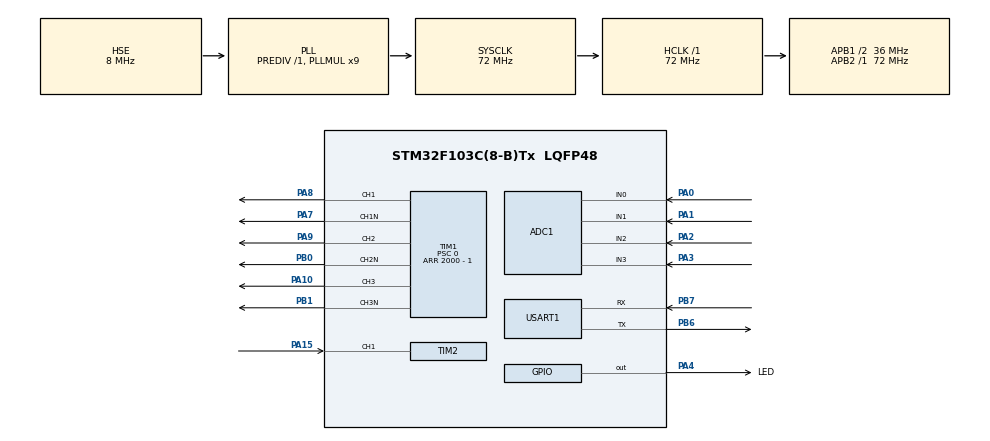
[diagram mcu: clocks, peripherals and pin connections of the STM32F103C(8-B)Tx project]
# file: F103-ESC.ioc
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ADC1.Channel-1\#ChannelRegularConversion=ADC_CHANNEL_0
ADC1.Channel-2\#ChannelRegularConversion=ADC_CHANNEL_1
ADC1.Channel-3\#ChannelRegularConversion=ADC_CHANNEL_2
ADC1.Channel-4\#ChannelRegularConversion=ADC_CHANNEL_3
ADC1.Channel-5\#ChannelRegularConversion=ADC_CHANNEL_TEMPSENSOR
ADC1.ContinuousConvMode=ENABLE
ADC1.NbrOfConversion=5
ADC1.NbrOfConversionFlag=1
ADC1.Rank-1\#ChannelRegularConversion=1
ADC1.Rank-2\#ChannelRegularConversion=2
ADC1.Rank-3\#ChannelRegularConversion=3
ADC1.Rank-4\#ChannelRegularConversion=4
ADC1.Rank-5\#ChannelRegularConversion=5
ADC1.SamplingTime-1\#ChannelRegularConversion=ADC_SAMPLETIME_7CYCLES_5
ADC1.SamplingTime-2\#ChannelRegularConversion=ADC_SAMPLETIME_7CYCLES_5
ADC1.SamplingTime-3\#ChannelRegularConversion=ADC_SAMPLETIME_7CYCLES_5
ADC1.SamplingTime-4\#ChannelRegularConversion=ADC_SAMPLETIME_7CYCLES_5
ADC1.SamplingTime-5\#ChannelRegularConversion=ADC_SAMPLETIME_7CYCLES_5
ADC1.master=1
Dma.ADC1.0.Direction=DMA_PERIPH_TO_MEMORY
Dma.ADC1.0.Instance=DMA1_Channel1
Dma.ADC1.0.MemDataAlignment=DMA_MDATAALIGN_HALFWORD
Dma.ADC1.0.MemInc=DMA_MINC_ENABLE
Dma.ADC1.0.Mode=DMA_CIRCULAR
Dma.ADC1.0.PeriphDataAlignment=DMA_PDATAALIGN_HALFWORD
Dma.ADC1.0.PeriphInc=DMA_PINC_DISABLE
Dma.ADC1.0.Priority=DMA_PRIORITY_LOW
Dma.Request0=ADC1
Mcu.Family=STM32F1
Mcu.Name=STM32F103C(8-B)Tx
Mcu.Package=LQFP48
NVIC.DMA1_Channel1_IRQn=true\:0\:0\:false\:false\:true\:false\:true
NVIC.PriorityGroup=NVIC_PRIORITYGROUP_4
NVIC.TIM2_IRQn=true\:0\:0\:false\:false\:true\:true\:true
PA0-WKUP.Signal=ADCx_IN0
PA1.Signal=ADCx_IN1
PA10.Signal=S_TIM1_CH3
PA13.Mode=Serial_Wire
PA13.Signal=SYS_JTMS-SWDIO
PA14.Mode=Serial_Wire
PA14.Signal=SYS_JTCK-SWCLK
PA15.Signal=S_TIM2_CH1_ETR
PA2.Signal=ADCx_IN2
PA3.Signal=ADCx_IN3
PA4.GPIO_Label=LED
PA4.Signal=GPIO_Output
PA7.Mode=PWM Generation1 CH1 CH1N
PA7.Signal=TIM1_CH1N
PA8.Signal=S_TIM1_CH1
PA9.Signal=S_TIM1_CH2
PB0.Mode=PWM Generation2 CH2 CH2N
PB0.Signal=TIM1_CH2N
PB1.Mode=PWM Generation3 CH3 CH3N
PB1.Signal=TIM1_CH3N
PB6.Mode=Asynchronous
PB6.Signal=USART1_TX
PB7.Mode=Asynchronous
PB7.Signal=USART1_RX
PD0-OSC_IN.Mode=HSE-External-Oscillator
PD0-OSC_IN.Signal=RCC_OSC_IN
PD1-OSC_OUT.Mode=HSE-External-Oscillator
PD1-OSC_OUT.Signal=RCC_OSC_OUT
ProjectManager.HeapSize=0x200
ProjectManager.StackSize=0x400
ProjectManager.TargetToolchain=STM32CubeIDE
RCC.ADCPresc=RCC_ADCPCLK2_DIV6
RCC.AHBFreq_Value=72000000
RCC.APB1CLKDivider=RCC_HCLK_DIV2
RCC.APB1Freq_Value=36000000
RCC.APB1TimFreq_Value=72000000
RCC.APB2Freq_Value=72000000
RCC.APB2TimFreq_Value=72000000
RCC.HCLKFreq_Value=72000000
RCC.PLLMUL=RCC_PLL_MUL9
RCC.PLLSourceVirtual=RCC_PLLSOURCE_HSE
RCC.SYSCLKFreq_VALUE=72000000
RCC.SYSCLKSource=RCC_SYSCLKSOURCE_PLLCLK
RCC.USBFreq_Value=72000000
SH.ADCx_IN0.0=ADC1_IN0,IN0
SH.ADCx_IN1.0=ADC1_IN1,IN1
SH.ADCx_IN2.0=ADC1_IN2,IN2
SH.ADCx_IN3.0=ADC1_IN3,IN3
SH.S_TIM1_CH1.0=TIM1_CH1,PWM Generation1 CH1 CH1N
SH.S_TIM1_CH2.0=TIM1_CH2,PWM Generation2 CH2 CH2N
SH.S_TIM1_CH3.0=TIM1_CH3,PWM Generation3 CH3 CH3N
SH.S_TIM2_CH1_ETR.0=TIM2_CH1,PWM_Input_1
TIM1.Channel-PWM\ Generation1\ CH1\ CH1N=TIM_CHANNEL_1
TIM1.Channel-PWM\ Generation2\ CH2\ CH2N=TIM_CHANNEL_2
TIM1.Channel-PWM\ Generation3\ CH3\ CH3N=TIM_CHANNEL_3
TIM1.OCFastMode_PWM-PWM\ Generation1\ CH1\ CH1N=TIM_OCFAST_ENABLE
TIM1.OCFastMode_PWM-PWM\ Generation2\ CH2\ CH2N=TIM_OCFAST_ENABLE
TIM1.OCFastMode_PWM-PWM\ Generation3\ CH3\ CH3N=TIM_OCFAST_ENABLE
TIM1.OCNPolarity_1=TIM_OCNPOLARITY_HIGH
TIM1.Period=2000 - 1
TIM1.Prescaler=0
TIM2.Prescaler=72 - 1
USART1.VirtualMode=VM_ASYNC
VP_ADC1_TempSens_Input.Mode=IN-TempSens
VP_TIM1_VS_ClockSourceINT.Mode=Internal
VP_TIM2_VS_ClockSourceINT.Mode=Internal
board=custom

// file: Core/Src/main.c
/* USER CODE BEGIN Header */
/**
  ******************************************************************************
  * @file           : main.c
  * @brief          : Main program body
  ******************************************************************************
  * @attention
  *
  * <h2><center>&copy; Copyright (c) 2020 STMicroelectronics.
  * All rights reserved.</center></h2>
  *
  * This software component is licensed by ST under BSD 3-Clause license,
  * the "License"; You may not use this file except in compliance with the
  * License. You may obtain a copy of the License at:
  *                        opensource.org/licenses/BSD-3-Clause
  *
  ******************************************************************************
  */
/* USER CODE END Header */
#include "main.h"

/* USER CODE BEGIN Includes */
#include <stdbool.h>
#include <dwt_delay.h>
#include <stdio.h>
/* USER CODE END Includes */

/* USER CODE BEGIN PD */
#define ESC_PWM_MIN 1000
#define ESC_PWM_MAX 2000
#define map(x,in_min,in_max,out_min,out_max) ( (x-in_min) * (out_max-out_min) / (in_max-in_min) + out_min )
#define constrain(nilaix,bawah,atas) ( (nilaix)<(bawah) ? (bawah) : ( (nilaix)>(atas) ? (atas) : (nilaix) ) )
#define CHANNEL_A TIM_CHANNEL_1
#define CHANNEL_B TIM_CHANNEL_2
#define CHANNEL_C TIM_CHANNEL_3

#define ADC_CHANNEL_VA 0
#define ADC_CHANNEL_VB 1
#define ADC_CHANNEL_VC 2
#define ADC_CHANNEL_VN 3
#define ADC_CHANNEL_TEMP 4

#define ENABLE_A TIM1->CCER |= TIM_CCER_CC1E | TIM_CCER_CC1NE
#define ENABLE_B TIM1->CCER |= TIM_CCER_CC2E | TIM_CCER_CC2NE
#define ENABLE_C TIM1->CCER |= TIM_CCER_CC3E | TIM_CCER_CC3NE

#define DISABLE_A TIM1->CCER &= ~(TIM_CCER_CC1E | TIM_CCER_CC1NE)
#define DISABLE_B TIM1->CCER &= ~(TIM_CCER_CC2E | TIM_CCER_CC2NE)
#define DISABLE_C TIM1->CCER &= ~(TIM_CCER_CC3E | TIM_CCER_CC3NE)
/* USER CODE END PD */

/* USER CODE BEGIN PM */
//const uint32_t GPIO_PORT_MOTOR = GPIOB;
/* USER CODE END PM */

ADC_HandleTypeDef hadc1;
DMA_HandleTypeDef hdma_adc1;

TIM_HandleTypeDef htim1;
TIM_HandleTypeDef htim2;

UART_HandleTypeDef huart1;

/* USER CODE BEGIN PV */
static uint32_t Input_DutyCycle;
static float Frequency;
uint32_t adcVal[5];
ESC_MODE esc_mode;

uint32_t pwm_cal_min;
uint32_t pwm_cal_max;

static unsigned char buffer[200];
static int strSize;
uint32_t bemfA = 0, bemfB = 0, bemfC = 0;

bool ADCDataStatus;

int step = 1;

static uint32_t delta, lastDelta;
/* USER CODE END PV */

void SystemClock_Config(void);
static void MX_GPIO_Init(void);
static void MX_DMA_Init(void);
static void MX_TIM1_Init(void);
static void MX_USART1_UART_Init(void);
static void MX_TIM2_Init(void);
static void MX_ADC1_Init(void);
/* USER CODE BEGIN PFP */
void sound(uint32_t Frequency, uint32_t milliseconds);
void phase(int step, uint16_t speed);
void outPWM(TIM_HandleTypeDef *htim, uint32_t channel, uint16_t dutyCycle){
	dutyCycle = map(dutyCycle, 0, 0xFFFF, 0, 2000);
	__HAL_TIM_SET_COMPARE(htim, channel, dutyCycle);
}

bool ZeroCross(int step);
/* USER CODE END PFP */

int main(void)
{

  /* MCU Configuration--------------------------------------------------------*/

  /* Reset of all peripherals, Initializes the Flash interface and the Systick. */
  HAL_Init();

  /* Configure the system clock */
  SystemClock_Config();

  /* Initialize all configured peripherals */
  MX_GPIO_Init();
  MX_DMA_Init();
  MX_TIM1_Init();
  MX_USART1_UART_Init();
  MX_TIM2_Init();
  MX_ADC1_Init();
  /* USER CODE BEGIN 2 */
  HAL_ADCEx_Calibration_Start(&hadc1);
  HAL_ADC_Start_DMA(&hadc1, adcVal, 5);

  DWT_Init();

  HAL_TIM_IC_Start_IT(&htim2, TIM_CHANNEL_1);
  HAL_TIM_IC_Start_IT(&htim2, TIM_CHANNEL_2);

  HAL_TIM_PWM_Start(&htim1, TIM_CHANNEL_1 | TIM_CHANNEL_2 | TIM_CHANNEL_3);
  HAL_TIMEx_PWMN_Start(&htim1, TIM_CHANNEL_1 | TIM_CHANNEL_2 | TIM_CHANNEL_3);

  HAL_TIM_PWM_Start(&htim2, TIM_CHANNEL_3);

  //HAL_TIM_PWM_Start(&htim1, TIM_CHANNEL_2);
  //HAL_TIM_PWM_Start(&htim1, TIM_CHANNEL_3);

  //HAL_TIM_PWM_Start_DMA(&htim1, TIM_CHANNEL_1, 0, 0);
  //HAL_TIM_PWM_Start_DMA(&htim1, TIM_CHANNEL_2, 0, 0);
  //HAL_TIM_PWM_Start_DMA(&htim1, TIM_CHANNEL_3, 0, 0);

  if(Input_DutyCycle > ESC_PWM_MIN + 100){
	  esc_mode = ESC_CALIBRATE;
  } else esc_mode = ESC_DISARMED;

  HAL_UART_Transmit(&huart1, "MULAI\r\n", 7, 10);
  //HAL_Delay(1000);

  /* USER CODE END 2 */

  /* Infinite loop */
  /* USER CODE BEGIN WHILE */
  while (1)
  {
	 // if(ADCDataStatus){
		//  ADCDataStatus = false;
	  //}

		 /* bemfA = adcValue[0];
		  bemfB = adcValue[1];
		  bemfC = adcValue[2];

		  phase(step);

		  if(lastDelta < 0){
			if(delta > 0){
				lastDelta = delta;
				step = step + 1;
				if(step > 6) step = 1;
			}
		  }

		  if(lastDelta > 0){
			  if(delta < 0){
				  lastDelta = delta;
				  step = step + 1;
				  if(step > 6) step = 1;
			  }
		  }*/
	  	  phase(step, 0xBFFF);
	  	  step = step + (ZeroCross(step) ? 1 : 0);
		  step = step > 6 ? 1 : step;
		  //step++;
		  //HAL_Delay(100);

		 /* strSize = sprintf((char*)buffer, "BEMF-A: %lu\r\n", bemfA);
		  HAL_UART_Transmit(&huart1, buffer, strSize, 30);

		  strSize = sprintf((char*)buffer, "BEMF-B: %lu\r\n", bemfB);
		  HAL_UART_Transmit(&huart1, buffer, strSize, 30);

		  strSize = sprintf((char*)buffer, "BEMF-C: %lu\r\n", bemfC);
		  HAL_UART_Transmit(&huart1, buffer, strSize, 30);

		  HAL_UART_Transmit(&huart1, "\r\n\r\n", 4, 30);*/

	  //}

    /* USER CODE END WHILE */

  }
}

void SystemClock_Config(void)
{
  RCC_OscInitTypeDef RCC_OscInitStruct = {0};
  RCC_ClkInitTypeDef RCC_ClkInitStruct = {0};
  RCC_PeriphCLKInitTypeDef PeriphClkInit = {0};

  /** Initializes the RCC Oscillators according to the specified parameters
  * in the RCC_OscInitTypeDef structure.
  */
  RCC_OscInitStruct.OscillatorType = RCC_OSCILLATORTYPE_HSE;
  RCC_OscInitStruct.HSEState = RCC_HSE_ON;
  RCC_OscInitStruct.HSEPredivValue = RCC_HSE_PREDIV_DIV1;
  RCC_OscInitStruct.HSIState = RCC_HSI_ON;
  RCC_OscInitStruct.PLL.PLLState = RCC_PLL_ON;
  RCC_OscInitStruct.PLL.PLLSource = RCC_PLLSOURCE_HSE;
  RCC_OscInitStruct.PLL.PLLMUL = RCC_PLL_MUL9;
  if (HAL_RCC_OscConfig(&RCC_OscInitStruct) != HAL_OK)
  {
    Error_Handler();
  }
  /** Initializes the CPU, AHB and APB buses clocks
  */
  RCC_ClkInitStruct.ClockType = RCC_CLOCKTYPE_HCLK|RCC_CLOCKTYPE_SYSCLK
                              |RCC_CLOCKTYPE_PCLK1|RCC_CLOCKTYPE_PCLK2;
  RCC_ClkInitStruct.SYSCLKSource = RCC_SYSCLKSOURCE_PLLCLK;
  RCC_ClkInitStruct.AHBCLKDivider = RCC_SYSCLK_DIV1;
  RCC_ClkInitStruct.APB1CLKDivider = RCC_HCLK_DIV2;
  RCC_ClkInitStruct.APB2CLKDivider = RCC_HCLK_DIV1;

  if (HAL_RCC_ClockConfig(&RCC_ClkInitStruct, FLASH_LATENCY_2) != HAL_OK)
  {
    Error_Handler();
  }
  PeriphClkInit.PeriphClockSelection = RCC_PERIPHCLK_ADC;
  PeriphClkInit.AdcClockSelection = RCC_ADCPCLK2_DIV6;
  if (HAL_RCCEx_PeriphCLKConfig(&PeriphClkInit) != HAL_OK)
  {
    Error_Handler();
  }
}

static void MX_ADC1_Init(void)
{

  ADC_ChannelConfTypeDef sConfig = {0};

  /** Common config
  */
  hadc1.Instance = ADC1;
  hadc1.Init.ScanConvMode = ADC_SCAN_ENABLE;
  hadc1.Init.ContinuousConvMode = ENABLE;
  hadc1.Init.DiscontinuousConvMode = DISABLE;
  hadc1.Init.ExternalTrigConv = ADC_SOFTWARE_START;
  hadc1.Init.DataAlign = ADC_DATAALIGN_RIGHT;
  hadc1.Init.NbrOfConversion = 5;
  if (HAL_ADC_Init(&hadc1) != HAL_OK)
  {
    Error_Handler();
  }
  /** Configure Regular Channel
  */
  sConfig.Channel = ADC_CHANNEL_0;
  sConfig.Rank = ADC_REGULAR_RANK_1;
  sConfig.SamplingTime = ADC_SAMPLETIME_7CYCLES_5;
  if (HAL_ADC_ConfigChannel(&hadc1, &sConfig) != HAL_OK)
  {
    Error_Handler();
  }
  /** Configure Regular Channel
  */
  sConfig.Channel = ADC_CHANNEL_1;
  sConfig.Rank = ADC_REGULAR_RANK_2;
  if (HAL_ADC_ConfigChannel(&hadc1, &sConfig) != HAL_OK)
  {
    Error_Handler();
  }
  /** Configure Regular Channel
  */
  sConfig.Channel = ADC_CHANNEL_2;
  sConfig.Rank = ADC_REGULAR_RANK_3;
  if (HAL_ADC_ConfigChannel(&hadc1, &sConfig) != HAL_OK)
  {
    Error_Handler();
  }
  /** Configure Regular Channel
  */
  sConfig.Channel = ADC_CHANNEL_3;
  sConfig.Rank = ADC_REGULAR_RANK_4;
  if (HAL_ADC_ConfigChannel(&hadc1, &sConfig) != HAL_OK)
  {
    Error_Handler();
  }
  /** Configure Regular Channel
  */
  sConfig.Channel = ADC_CHANNEL_TEMPSENSOR;
  sConfig.Rank = ADC_REGULAR_RANK_5;
  if (HAL_ADC_ConfigChannel(&hadc1, &sConfig) != HAL_OK)
  {
    Error_Handler();
  }

}

static void MX_TIM1_Init(void)
{

  TIM_ClockConfigTypeDef sClockSourceConfig = {0};
  TIM_MasterConfigTypeDef sMasterConfig = {0};
  TIM_OC_InitTypeDef sConfigOC = {0};
  TIM_BreakDeadTimeConfigTypeDef sBreakDeadTimeConfig = {0};

  htim1.Instance = TIM1;
  htim1.Init.Prescaler = 0;
  htim1.Init.CounterMode = TIM_COUNTERMODE_UP;
  htim1.Init.Period = 2000 - 1;
  htim1.Init.ClockDivision = TIM_CLOCKDIVISION_DIV1;
  htim1.Init.RepetitionCounter = 0;
  htim1.Init.AutoReloadPreload = TIM_AUTORELOAD_PRELOAD_DISABLE;
  if (HAL_TIM_Base_Init(&htim1) != HAL_OK)
  {
    Error_Handler();
  }
  sClockSourceConfig.ClockSource = TIM_CLOCKSOURCE_INTERNAL;
  if (HAL_TIM_ConfigClockSource(&htim1, &sClockSourceConfig) != HAL_OK)
  {
    Error_Handler();
  }
  if (HAL_TIM_PWM_Init(&htim1) != HAL_OK)
  {
    Error_Handler();
  }
  sMasterConfig.MasterOutputTrigger = TIM_TRGO_RESET;
  sMasterConfig.MasterSlaveMode = TIM_MASTERSLAVEMODE_DISABLE;
  if (HAL_TIMEx_MasterConfigSynchronization(&htim1, &sMasterConfig) != HAL_OK)
  {
    Error_Handler();
  }
  sConfigOC.OCMode = TIM_OCMODE_PWM1;
  sConfigOC.Pulse = 0;
  sConfigOC.OCPolarity = TIM_OCPOLARITY_HIGH;
  sConfigOC.OCNPolarity = TIM_OCNPOLARITY_HIGH;
  sConfigOC.OCFastMode = TIM_OCFAST_ENABLE;
  sConfigOC.OCIdleState = TIM_OCIDLESTATE_RESET;
  sConfigOC.OCNIdleState = TIM_OCNIDLESTATE_RESET;
  if (HAL_TIM_PWM_ConfigChannel(&htim1, &sConfigOC, TIM_CHANNEL_1) != HAL_OK)
  {
    Error_Handler();
  }
  if (HAL_TIM_PWM_ConfigChannel(&htim1, &sConfigOC, TIM_CHANNEL_2) != HAL_OK)
  {
    Error_Handler();
  }
  if (HAL_TIM_PWM_ConfigChannel(&htim1, &sConfigOC, TIM_CHANNEL_3) != HAL_OK)
  {
    Error_Handler();
  }
  sBreakDeadTimeConfig.OffStateRunMode = TIM_OSSR_DISABLE;
  sBreakDeadTimeConfig.OffStateIDLEMode = TIM_OSSI_DISABLE;
  sBreakDeadTimeConfig.LockLevel = TIM_LOCKLEVEL_OFF;
  sBreakDeadTimeConfig.DeadTime = 0;
  sBreakDeadTimeConfig.BreakState = TIM_BREAK_DISABLE;
  sBreakDeadTimeConfig.BreakPolarity = TIM_BREAKPOLARITY_HIGH;
  sBreakDeadTimeConfig.AutomaticOutput = TIM_AUTOMATICOUTPUT_DISABLE;
  if (HAL_TIMEx_ConfigBreakDeadTime(&htim1, &sBreakDeadTimeConfig) != HAL_OK)
  {
    Error_Handler();
  }
  HAL_TIM_MspPostInit(&htim1);

}

static void MX_TIM2_Init(void)
{

  TIM_ClockConfigTypeDef sClockSourceConfig = {0};
  TIM_SlaveConfigTypeDef sSlaveConfig = {0};
  TIM_IC_InitTypeDef sConfigIC = {0};
  TIM_MasterConfigTypeDef sMasterConfig = {0};

  htim2.Instance = TIM2;
  htim2.Init.Prescaler = 72 - 1;
  htim2.Init.CounterMode = TIM_COUNTERMODE_UP;
  htim2.Init.Period = 65535;
  htim2.Init.ClockDivision = TIM_CLOCKDIVISION_DIV1;
  htim2.Init.AutoReloadPreload = TIM_AUTORELOAD_PRELOAD_DISABLE;
  if (HAL_TIM_Base_Init(&htim2) != HAL_OK)
  {
    Error_Handler();
  }
  sClockSourceConfig.ClockSource = TIM_CLOCKSOURCE_INTERNAL;
  if (HAL_TIM_ConfigClockSource(&htim2, &sClockSourceConfig) != HAL_OK)
  {
    Error_Handler();
  }
  if (HAL_TIM_IC_Init(&htim2) != HAL_OK)
  {
    Error_Handler();
  }
  sSlaveConfig.SlaveMode = TIM_SLAVEMODE_RESET;
  sSlaveConfig.InputTrigger = TIM_TS_TI1FP1;
  sSlaveConfig.TriggerPolarity = TIM_INPUTCHANNELPOLARITY_RISING;
  sSlaveConfig.TriggerPrescaler = TIM_ICPSC_DIV1;
  sSlaveConfig.TriggerFilter = 0;
  if (HAL_TIM_SlaveConfigSynchro(&htim2, &sSlaveConfig) != HAL_OK)
  {
    Error_Handler();
  }
  sConfigIC.ICPolarity = TIM_INPUTCHANNELPOLARITY_RISING;
  sConfigIC.ICSelection = TIM_ICSELECTION_DIRECTTI;
  sConfigIC.ICPrescaler = TIM_ICPSC_DIV1;
  sConfigIC.ICFilter = 0;
  if (HAL_TIM_IC_ConfigChannel(&htim2, &sConfigIC, TIM_CHANNEL_1) != HAL_OK)
  {
    Error_Handler();
  }
  sConfigIC.ICPolarity = TIM_INPUTCHANNELPOLARITY_FALLING;
  sConfigIC.ICSelection = TIM_ICSELECTION_INDIRECTTI;
  if (HAL_TIM_IC_ConfigChannel(&htim2, &sConfigIC, TIM_CHANNEL_2) != HAL_OK)
  {
    Error_Handler();
  }
  sMasterConfig.MasterOutputTrigger = TIM_TRGO_RESET;
  sMasterConfig.MasterSlaveMode = TIM_MASTERSLAVEMODE_DISABLE;
  if (HAL_TIMEx_MasterConfigSynchronization(&htim2, &sMasterConfig) != HAL_OK)
  {
    Error_Handler();
  }

}

static void MX_USART1_UART_Init(void)
{

  huart1.Instance = USART1;
  huart1.Init.BaudRate = 115200;
  huart1.Init.WordLength = UART_WORDLENGTH_8B;
  huart1.Init.StopBits = UART_STOPBITS_1;
  huart1.Init.Parity = UART_PARITY_NONE;
  huart1.Init.Mode = UART_MODE_TX_RX;
  huart1.Init.HwFlowCtl = UART_HWCONTROL_NONE;
  huart1.Init.OverSampling = UART_OVERSAMPLING_16;
  if (HAL_UART_Init(&huart1) != HAL_OK)
  {
    Error_Handler();
  }

}

static void MX_DMA_Init(void)
{

  /* DMA controller clock enable */
  __HAL_RCC_DMA1_CLK_ENABLE();

  /* DMA interrupt init */
  /* DMA1_Channel1_IRQn interrupt configuration */
  HAL_NVIC_SetPriority(DMA1_Channel1_IRQn, 0, 0);
  HAL_NVIC_EnableIRQ(DMA1_Channel1_IRQn);

}

static void MX_GPIO_Init(void)
{
  GPIO_InitTypeDef GPIO_InitStruct = {0};

  /* GPIO Ports Clock Enable */
  __HAL_RCC_GPIOD_CLK_ENABLE();
  __HAL_RCC_GPIOA_CLK_ENABLE();
  __HAL_RCC_GPIOB_CLK_ENABLE();

  /*Configure GPIO pin Output Level */
  HAL_GPIO_WritePin(LED_GPIO_Port, LED_Pin, GPIO_PIN_RESET);

  /*Configure GPIO pin : LED_Pin */
  GPIO_InitStruct.Pin = LED_Pin;
  GPIO_InitStruct.Mode = GPIO_MODE_OUTPUT_PP;
  GPIO_InitStruct.Pull = GPIO_NOPULL;
  GPIO_InitStruct.Speed = GPIO_SPEED_FREQ_LOW;
  HAL_GPIO_Init(LED_GPIO_Port, &GPIO_InitStruct);

}

/* USER CODE BEGIN 4 */

void phase(int step, uint16_t speed){
	//uint32_t bemfSum = (bemfA + bemfB + bemfC) / 3;

	//strSize = sprintf((char*)buffer, "bemfA: %lu, bemfB: %lu, bemfC: %lu, bemfSum: %lu\t",bemfA, bemfB, bemfC, bemfSum);
	//HAL_UART_Transmit(&huart1, buffer, strSize, 100);

	switch(step){
	case 1: //AH-BL
		ENABLE_A;
		ENABLE_B;
		DISABLE_C;

		outPWM(&htim1, CHANNEL_B, 0);
		outPWM(&htim1, CHANNEL_A, speed);

		//delta = bemfA - bemfSum;
		//strSize = sprintf((char*)buffer, "STEP: %d AH-BL\r\n", step);
		//HAL_UART_Transmit(&huart1, buffer, strSize, 100);
		break;

	case 2: //AH-CL
		ENABLE_A;
		ENABLE_C;
		DISABLE_B;

		outPWM(&htim1, CHANNEL_C, 0);
		outPWM(&htim1, CHANNEL_A, speed);

		//delta = bemfC - bemfSum;
		//strSize = sprintf((char*)buffer, "STEP: %d AH-CL\r\n", step);
		//HAL_UART_Transmit(&huart1, buffer, strSize, 100);
		break;

	case 3: //BH-CL
		ENABLE_B;
		ENABLE_C;
		DISABLE_A;

		outPWM(&htim1, CHANNEL_C, 0);
		outPWM(&htim1, CHANNEL_B, speed);

		strSize = sprintf((char*)buffer, "STEP: %d BH-CL\r\n", step);
		//HAL_UART_Transmit(&huart1, buffer, strSize, 100);
		//delta = bemfB - bemfSum;
		break;

	case 4: //BH-AL
		ENABLE_B;
		ENABLE_A;
		DISABLE_C;

		outPWM(&htim1, CHANNEL_A, 0);
		outPWM(&htim1, CHANNEL_B, speed);

		//strSize = sprintf((char*)buffer, "STEP: %d BH-AL\r\n", step);
		//HAL_UART_Transmit(&huart1, buffer, strSize, 100);
		//delta = bemfA - bemfSum;
		break;

	case 5: //CH-AL
		ENABLE_C;
		ENABLE_A;
		DISABLE_B;

		outPWM(&htim1, CHANNEL_A, 0);
		outPWM(&htim1, CHANNEL_C, speed);

		//strSize = sprintf((char*)buffer, "STEP: %d CH-AL\r\n", step);
		//HAL_UART_Transmit(&huart1, buffer, strSize, 100);
		//delta = bemfC - bemfSum;
		break;

	case 6: //CH-BL
		ENABLE_C;
		ENABLE_B;
		DISABLE_A;

		outPWM(&htim1, CHANNEL_B, 0);
		outPWM(&htim1, CHANNEL_C, speed);

		//strSize = sprintf((char*)buffer, "STEP: %d CH-BL\r\n", step);
		//HAL_UART_Transmit(&huart1, buffer, strSize, 100);
		//delta = bemfB - bemfSum;
		break;
	}
	//HAL_Delay(100);
}

bool ZeroCross(int step){
	switch(step){
	case 1:
		return (adcVal[ADC_CHANNEL_VC] < adcVal[ADC_CHANNEL_VN] ? true : false); //PHASE C FALLING
		break;

	case 2:
		return (adcVal[ADC_CHANNEL_VB] > adcVal[ADC_CHANNEL_VN] ? true : false); //PHASE B RISING
		break;

	case 3:
		return (adcVal[ADC_CHANNEL_VA] < adcVal[ADC_CHANNEL_VN] ? true : false); //PHASE A FALLING
		break;

	case 4:
		return (adcVal[ADC_CHANNEL_VC] > adcVal[ADC_CHANNEL_VN] ? true : false); //PHASE C RISING
		break;

	case 5:
		return (adcVal[ADC_CHANNEL_VB] < adcVal[ADC_CHANNEL_VN] ? true : false); //PHASE B FALLING
		break;

	case 6:
		return (adcVal[ADC_CHANNEL_VA] > adcVal[ADC_CHANNEL_VN] ? true : false); //PHASE A RISING
		break;
	}
	return false;
}

void HAL_ADC_ConvCpltCallback(ADC_HandleTypeDef* hadc){
	//if(!ADCDataStatus) ADCDataStatus = true;
}

void sound(uint32_t Frequency, uint32_t milliseconds){
/*	int x = 0;

	uint32_t tOnOff = (1000000 / Frequency) / 2;

	while(i < milliseconds){
		for(int i = 0; i < 1000 / tOnOff; i++){
			HAL_GPIO_WritePin(PORTMotor, GPIO_PIN_PHASEA, GPIO_PIN_SET);
			DWT_Delay(tOnOff / 4);
			HAL_GPIO_WritePin(PORTMotor, GPIO_PIN_PHASEA, GPIO_PIN_RESET);
			DWT_Delay(tOnOff / 4);

			HAL_GPIO_WritePin(PORTMotor, GPIO_PIN_PHASEB, GPIO_PIN_SET);
			DWT_Delay(tOnOff / 4);
			HAL_GPIO_WritePin(PORTMotor, GPIO_PIN_PHASEB, GPIO_PIN_RESET);
			DWT_Delay(tOnOff / 4);
		}
		++x;
	}*/
}

void HAL_TIM_IC_CaptureCallback(TIM_HandleTypeDef *htim){
	static uint32_t Count_RisingEdge;
	static uint32_t Count_FallingEdge;
	static uint32_t Count_Freq1;
	static uint32_t Count_Freq2;

	static bool Freq_State;

	if(htim->Instance == TIM2){
		if(htim->Channel == HAL_TIM_ACTIVE_CHANNEL_1){
			//Count_RisingEdge = HAL_TIM_ReadCapturedValue(&htim1, TIM_CHANNEL_1);
			Count_RisingEdge = TIM2->CCR1;

			if(Freq_State == 0){
				Freq_State = 1;
				Count_Freq1 = Count_RisingEdge;
			}
			else if(Freq_State == 1){
				Freq_State = 0;
				Count_Freq2 = Count_RisingEdge;
				if(Count_Freq2 > Count_Freq1){
					Frequency = (float)(1 / (((float)Count_Freq2 - (float)Count_Freq1) / 1000) * 1000); //in Hz;
					//Frequency = Frequency * 1000; //Convert to Hz
					strSize = sprintf((char*)buffer, "Freq: %f\r\n", Frequency);
					HAL_UART_Transmit(&huart1, buffer, strSize, 100);
				}
			}
		}

		else if(htim->Channel == HAL_TIM_ACTIVE_CHANNEL_2){
			Count_FallingEdge = TIM2->CCR2;
		}

		if(Count_FallingEdge > Count_RisingEdge){
			Input_DutyCycle = Count_FallingEdge - Count_RisingEdge;
			strSize = sprintf((char*)buffer, "Duty Cycle: %lu\r\n", Input_DutyCycle);
			HAL_UART_Transmit(&huart1, buffer, strSize, 100);
			//Count_RisingEdge = 0;
			//Count_FallingEdge = 0;
		}
	}
}
/* USER CODE END 4 */

void Error_Handler(void)
{
}

/************************ (C) COPYRIGHT STMicroelectronics *****END OF FILE****/
